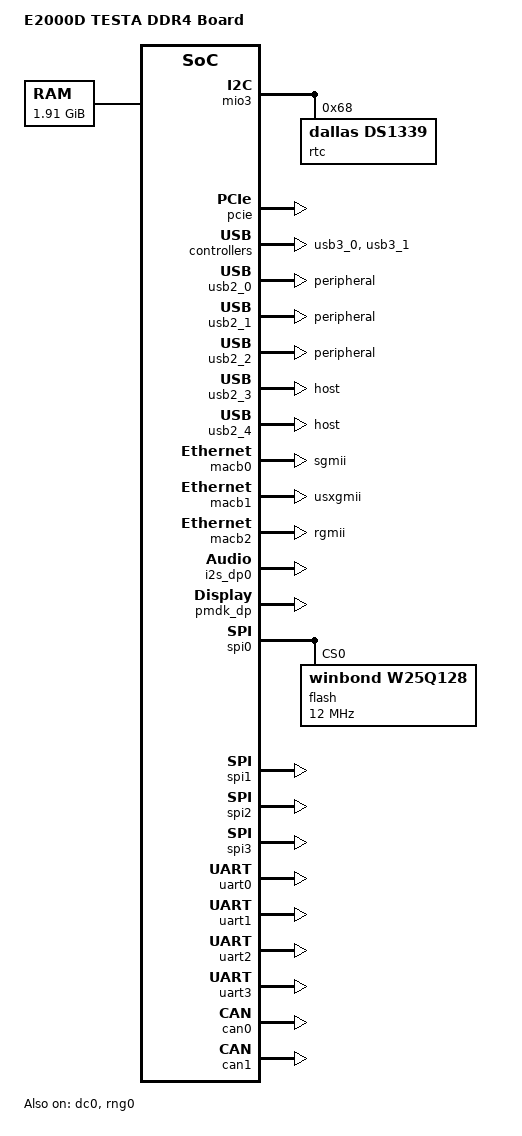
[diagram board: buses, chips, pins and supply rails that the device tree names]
// SPDX-License-Identifier: GPL-2.0
/*
 * DTS file for Phytium E2000D test board
 *
 * Copyright (C) 2022, Phytium Technology Co., Ltd.
 *
 * This program is free software; you can redistribute it and/or
 * modify it under the terms of the GNU General Public License as
 * published by the Free Software Foundation; either version 2 of
 * the License, or (at your option) any later version.
 */

/dts-v1/;
/memreserve/ 0x80000000 0x10000;

#include "e2000d.dtsi"

/{
	model = "E2000D TESTA DDR4 Board";
	compatible = "phytium,e2000d";

	chosen {
		stdout-path = "serial1:115200n8";
	};

	memory@00{
		device_type = "memory";
		reg = <0x0 0x80000000 0x0 0x7a000000>;
	};
};

&soc {
	mio3: i2c@2801a000 {
		compatible = "phytium,i2c";
		reg = <0x0 0x2801a000 0x0 0x1000>;
		interrupts = <GIC_SPI 95 IRQ_TYPE_LEVEL_HIGH>;
		clocks = <&sysclk_50mhz>;
		#address-cells = <1>;
		#size-cells = <0>;
		status = "okay";

		rtc@68 {
			compatible = "dallas,ds1339";
			reg = <0x68>;
		};
	};
};

&pcie {
	status = "okay";
};

&usb3_0 {
	status = "okay";
};

&usb3_1 {
	status = "okay";
};

&usb2_0 {
	dr_mode = "peripheral";
	status = "okay";
};

&usb2_1 {
	dr_mode = "peripheral";
	status = "okay";
};

&usb2_2 {
	dr_mode = "peripheral";
	status = "okay";
};

&usb2_3 {
	dr_mode = "host";
	status = "okay";
};

&usb2_4 {
	dr_mode = "host";
	status = "okay";
};

&macb0 {
	phy-mode = "sgmii";
	use-mii;
	status = "okay";
};

&macb1 {
	phy-mode = "usxgmii";
	status = "okay";
};

/*
 * This mac can be also used as rmii:
 *   phy-mode = "rmii";
 */
&macb2 {
	phy-mode = "rgmii";
	use-mii;
	status = "okay";
};

&dc0 {
	pipe_mask = /bits/ 8 <0x3>;
	edp_mask = /bits/ 8 <0x0>;
	status = "okay";
};

&i2s_dp0 {
	dai-name = "phytium-i2s-dp0";
	status = "okay";
};

&pmdk_dp{
	num-dp = <1>;
	status = "okay";
};

&spi0 {
	global-cs = <1>;
	status = "okay";

	flash: w25q128@0 {
		compatible ="winbond,w25q128", "jedec,spi-nor";
		spi-max-frequency = <12000000>;
		reg = <0>;
	};
};

&spi1 {
	status = "okay";
};

&spi2 {
	status = "okay";
};

&spi3 {
	status = "okay";
};

&uart0 {
	status = "okay";
};

&uart1 {
	status = "okay";
};

&uart2 {
	status = "okay";
};

&uart3 {
	status = "okay";
};

&can0 {
	status = "okay";
};

&can1 {
	status = "okay";
};

&rng0 {
	status = "okay";
};
